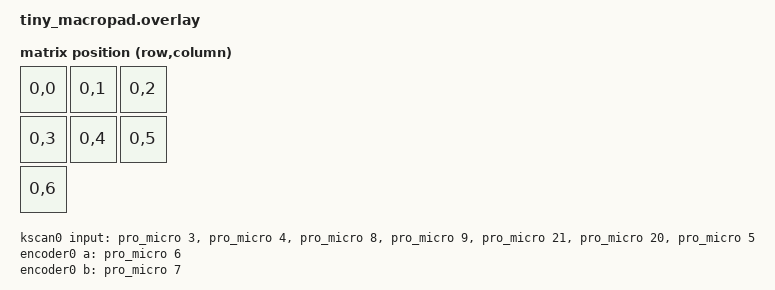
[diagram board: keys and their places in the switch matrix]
#include <dt-bindings/gpio/gpio.h>
#include <dt-bindings/zmk/matrix_transform.h>

/ {
    // NOTE: broken GPIO P0.17 / silkscreen "017" is NOT used anywhere.
    // Each normally-open switch shorts its assigned GPIO to GND when pressed.
    kscan0: kscan_0 {
        compatible = "zmk,kscan-gpio-direct";
        wakeup-source;
        input-gpios =
            <&pro_micro 3 (GPIO_ACTIVE_LOW | GPIO_PULL_UP)>,   // P0.20 / 020: key 1
            <&pro_micro 4 (GPIO_ACTIVE_LOW | GPIO_PULL_UP)>,   // P0.22 / 022: key 2
            <&pro_micro 8 (GPIO_ACTIVE_LOW | GPIO_PULL_UP)>,   // P1.04 / 104: key 3
            <&pro_micro 9 (GPIO_ACTIVE_LOW | GPIO_PULL_UP)>,   // P1.06 / 106: key 4
            <&pro_micro 21 (GPIO_ACTIVE_LOW | GPIO_PULL_UP)>,  // P0.31 / 031: key 5
            <&pro_micro 20 (GPIO_ACTIVE_LOW | GPIO_PULL_UP)>,  // P0.29 / 029: key 6
            <&pro_micro 5 (GPIO_ACTIVE_LOW | GPIO_PULL_UP)>;   // P0.24 / 024: EC11 push
    };

    default_transform: keymap_transform_0 {
        compatible = "zmk,matrix-transform";
        columns = <7>;
        rows = <1>;
        map = <
            RC(0,0) RC(0,1) RC(0,2)
            RC(0,3) RC(0,4) RC(0,5)
            RC(0,6)
        >;
    };

    physical_layout0: physical_layout_0 {
        compatible = "zmk,physical-layout";
        display-name = "6 buttons + EC11 push";
        kscan = <&kscan0>;
        transform = <&default_transform>;
    };

    // EC11 A/C/B pins: A=100, middle C=GND, B=011.
    encoder0: encoder_0 {
        compatible = "alps,ec11";
        a-gpios = <&pro_micro 6 (GPIO_ACTIVE_HIGH | GPIO_PULL_UP)>;  // P1.00 / 100
        b-gpios = <&pro_micro 7 (GPIO_ACTIVE_HIGH | GPIO_PULL_UP)>;  // P0.11 / 011
        steps = <20>;
        status = "okay";
    };

    sensors: sensors {
        compatible = "zmk,keymap-sensors";
        sensors = <&encoder0>;
        triggers-per-rotation = <20>;
    };

    chosen {
        zmk,physical-layout = &physical_layout0;
    };
};
